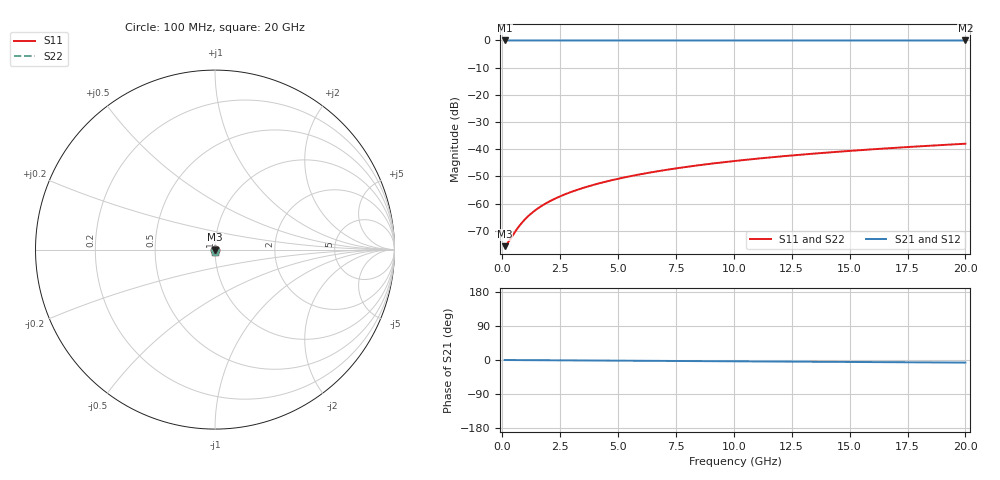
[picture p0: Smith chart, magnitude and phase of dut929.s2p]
! Touchstone file exported from HFSS 2026.1.0
!  File:  C:/ffzhzh/LocalFiles/Ansys_Project_Files/temp_train_TSV_929_1783186796_43440.aedt
!  Generated:  01:41:22 AM Jul  5, 2026
!  Design:  TSV
!  Project:  temp_train_TSV_929_1783186796_43440
! Variables:
!  h_bsmrdl = 2um
!  h_ox = 20um
!  h_rdl = 5um
!  h_sub = 70.67um
!  h_tmrdl = 5um
!  h_tsv = 70.67um
!  h_via = 3um
!  l_bsmrdl = 300um
!  l_sub = 416.32um
!  l_tmrdl = 200um
!  m_sub = 200um
!  pitch = 29.75um
!  r_tsv = 8.16um
!  s_tmrdl = 10um
!  w_bsmrdl = 18um
!  w_sub = 500um
!  w_tmrdl = 12um
!  x_tsv_center1 = 206um
!  x_tsv_center2 = 524um
!  x_tsv_center3 = 736um
!  x_tsv_center4 = 1054um
!  x_tsv_center5 = 1266um
!  x_tsv_center6 = 1584um
# GHz S MA R 50.000000
! Terminal data exported
! Port[1] = TSV1_1_T1
! Port[2] = TSV1_1_T2
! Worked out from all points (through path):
!   200 points, 100 MHz to 20 GHz, reference 50 ohm
!   highest |S21| = 0.00 dB at 100 MHz (marker M1); lowest = 0.0 dB at 20 GHz (marker M2)
!   lowest |S11| = -75.7 dB at 100 MHz (marker M3), VSWR 1.00, Z = 50 - j0.00168 ohm
!   |S11| at or under -10 dB: start of sweep to end of sweep
!   |S22| runs from -75.7 to -38.0 dB; largest |S21 - S12| = 4.3e-15
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0.1  0.0001645 -5.9  0.9998 -0.0  0.9998 -0.0  0.0001645 -5.9
! Gamma 0 0 0 0
! Port Impedance 50 0 50 0
0.2  0.0001807 -11.8  0.9998 -0.1  0.9998 -0.1  0.0001807 -11.8
0.3  0.0002063 -17.7  0.9998 -0.1  0.9998 -0.1  0.0002063 -17.7
0.6  0.0003229 -33.6  0.9997 -0.2  0.9997 -0.2  0.0003229 -33.6
0.8  0.0004196 -41.8  0.9997 -0.3  0.9997 -0.3  0.0004196 -41.8
0.9  0.0004708 -45.2  0.9997 -0.3  0.9997 -0.3  0.0004708 -45.2
1.1  0.0005764 -50.9  0.9996 -0.4  0.9996 -0.4  0.0005764 -50.9
1.4  0.0007396 -57.2  0.9996 -0.5  0.9996 -0.5  0.0007396 -57.2
1.8  0.0009619 -62.9  0.9996 -0.6  0.9996 -0.6  0.0009619 -62.9
2.3  0.001245 -67.5  0.9995 -0.8  0.9995 -0.8  0.001245 -67.5
2.9  0.001591 -71.1  0.9995 -1.0  0.9995 -1.0  0.001591 -71.1
3.5  0.001944 -73.5  0.9994 -1.2  0.9994 -1.2  0.001944 -73.5
4.2  0.002365 -75.5  0.9993 -1.5  0.9993 -1.5  0.002365 -75.5
5  0.002856 -77.3  0.9993 -1.7  0.9993 -1.7  0.002856 -77.3
5.9  0.003417 -78.9  0.9992 -2.0  0.9992 -2.0  0.003417 -78.9
6.8  0.003987 -80.2  0.9992 -2.4  0.9992 -2.4  0.003987 -80.2
8.3  0.004946 -82.1  0.9991 -2.9  0.9991 -2.9  0.004946 -82.1
10.1  0.006108 -83.9  0.999 -3.5  0.999 -3.5  0.006108 -83.9
11.7  0.007146 -85.2  0.9989 -4.0  0.9989 -4.0  0.007146 -85.2
13.4  0.008254 -86.5  0.9988 -4.6  0.9988 -4.6  0.008254 -86.5
16.7  0.01042 -88.6  0.9986 -5.7  0.9986 -5.7  0.01042 -88.5
20  0.0126 -90.3  0.9985 -6.9  0.9985 -6.9  0.0126 -90.3
